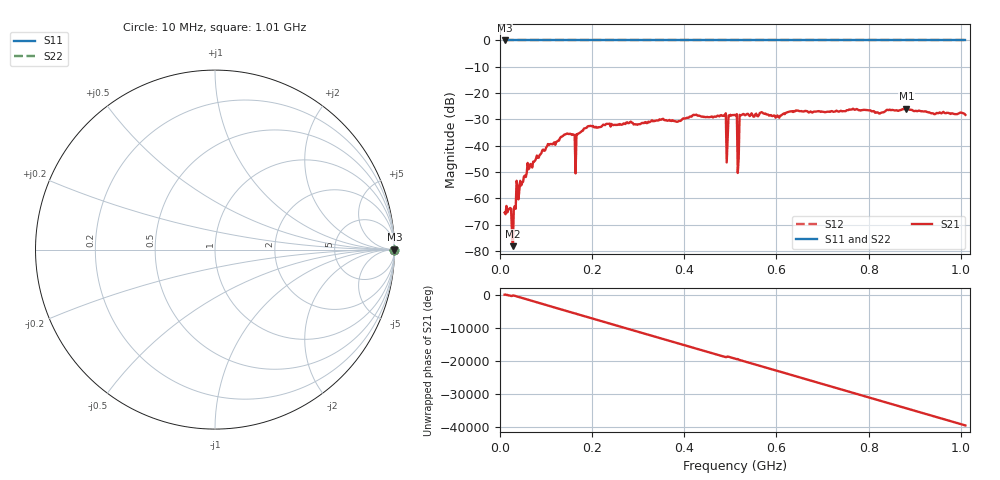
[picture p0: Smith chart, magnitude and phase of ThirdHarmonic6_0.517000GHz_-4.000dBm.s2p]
! 8/15/2025 3:50:53 PM
! C:\ANRITSUVNA\TEMP\TEMP.S2P
! CHANNEL.1
! TR.MEASUREMENT
! RAW.DATA
! RF.CORRECTION.OFF
! AVERAGING.OFF
! IF.BANDWIDTH: 5KHZ
! SWEEPTYPE:  FREQ.SWEEP(Linear)
! Reference Plane Port Info
! PORT:  PORT1  PORT2
! DISTANCE:  0  m  0  m
! TIME:  0  s  0  s
! PHASE.OFFSET:  0  deg.  0  deg.
! LOSS:  0  dB  0  dB
! REF.LOSS:  0  dB  0  dB
! REF.FREQ:  0  Hz  0  Hz
! Power Info
! POWER:  -20  dBm  -20  dBm
! EFF.POWER:  -20  dBm  -20  dBm
! SOURCE.ATTEN:  0  dB  0  dB
! TEST.ATTEN:  0  dB  0  dB
# GHZ S RI R 50.0
! FREQ.GHZ  S11RE  S11IM  S21RE  S21IM  S12RE  S12IM  S22RE  S22IM
!; PortSelection: Port_12
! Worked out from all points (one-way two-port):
!   501 points, 10 MHz to 1.01 GHz, reference 50 ohm
!   highest |S21| = -25.89 dB at 882 MHz (marker M1); lowest = -78.2 dB at 28 MHz (marker M2)
!   lowest |S11| = 0.0 dB at 10 MHz (marker M3)
!   |S11| at or under -10 dB: nowhere
!   |S22| runs from 0.0 to 0.0 dB; largest |S21 - S12| = 1
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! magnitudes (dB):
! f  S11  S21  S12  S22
! 10 MHz  0.0  -65.5  0.0  0.0
! 20 MHz  0.0  -64.0  0.0  0.0
! 28 MHz  0.0  -78.2  0.0  0.0
! 40 MHz  0.0  -60.4  0.0  0.0
! 64 MHz  0.0  -48.4  0.0  0.0
! 106 MHz  0.0  -39.7  0.0  0.0
! 148 MHz  0.0  -35.5  0.0  0.0
! 166 MHz  0.0  -35.6  0.0  0.0
! 178 MHz  0.0  -34.4  0.0  0.0
! 344 MHz  0.0  -30.4  0.0  0.0
! 486 MHz  0.0  -28.4  0.0  0.0
! 490 MHz  0.0  -27.7  0.0  0.0
! 496 MHz  0.0  -28.5  0.0  0.0
! 500 MHz  0.0  -28.2  0.0  0.0
! 510 MHz  0.0  -28.3  0.0  0.0
! 514 MHz  0.0  -28.0  0.0  0.0
! 520 MHz  0.0  -28.3  0.0  0.0
! 524 MHz  0.0  -28.3  0.0  0.0
! 678 MHz  0.0  -27.4  0.0  0.0
! 844 MHz  0.0  -26.5  0.0  0.0
! 882 MHz  0.0  -25.9  0.0  0.0
! 1.01 GHz  0.0  -28.3  0.0  0.0
